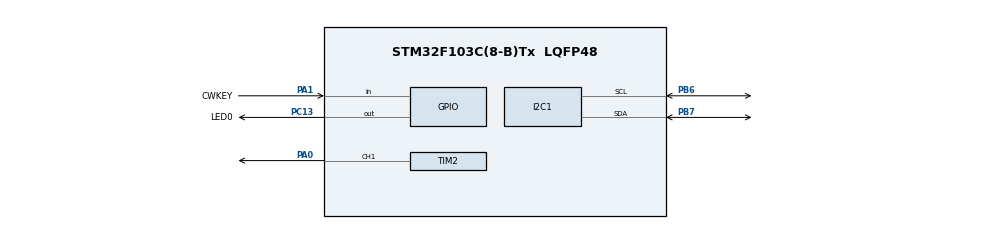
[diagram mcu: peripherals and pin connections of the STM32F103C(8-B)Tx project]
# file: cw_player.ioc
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FREERTOS.Queues01=keyEvent_Queue,16,uint8_t,0,Dynamic,NULL,NULL
FREERTOS.Tasks01=defaultTask,24,128,StartDefaultTask,Default,NULL,Dynamic,NULL,NULL;keyTask,24,128,StartTaskKey,Default,NULL,Dynamic,NULL,NULL;ledTask,24,128,StartTaskLed,Default,NULL,Dynamic,NULL,NULL
FREERTOS.configUSE_NEWLIB_REENTRANT=1
I2C1.I2C_Mode=I2C_Fast
Mcu.Family=STM32F1
Mcu.Name=STM32F103C(8-B)Tx
Mcu.Package=LQFP48
NVIC.PriorityGroup=NVIC_PRIORITYGROUP_4
NVIC.TIM1_UP_IRQn=true\:15\:0\:false\:false\:true\:false\:false\:true\:true
NVIC.TIM3_IRQn=true\:5\:0\:false\:false\:true\:true\:true\:true\:true
NVIC.TimeBase=TIM1_UP_IRQn
NVIC.TimeBaseIP=TIM1
PA0-WKUP.Signal=S_TIM2_CH1_ETR
PA1.GPIO_Label=CWKEY
PA1.GPIO_PuPd=GPIO_PULLUP
PA1.Signal=GPIO_Input
PA13.Mode=Serial_Wire
PA13.Signal=SYS_JTMS-SWDIO
PA14.Mode=Serial_Wire
PA14.Signal=SYS_JTCK-SWCLK
PB6.Mode=I2C
PB6.Signal=I2C1_SCL
PB7.Mode=I2C
PB7.Signal=I2C1_SDA
PC13-TAMPER-RTC.GPIO_Label=LED0
PC13-TAMPER-RTC.GPIO_PuPd=GPIO_PULLUP
PC13-TAMPER-RTC.GPIO_Speed=GPIO_SPEED_FREQ_HIGH
PC13-TAMPER-RTC.PinState=GPIO_PIN_SET
PC13-TAMPER-RTC.Signal=GPIO_Output
PC14-OSC32_IN.Mode=LSE-External-Oscillator
PC14-OSC32_IN.Signal=RCC_OSC32_IN
PC15-OSC32_OUT.Mode=LSE-External-Oscillator
PC15-OSC32_OUT.Signal=RCC_OSC32_OUT
PD0-OSC_IN.Mode=HSE-External-Oscillator
PD0-OSC_IN.Signal=RCC_OSC_IN
PD1-OSC_OUT.Mode=HSE-External-Oscillator
PD1-OSC_OUT.Signal=RCC_OSC_OUT
ProjectManager.HeapSize=0x200
ProjectManager.StackSize=0x400
ProjectManager.TargetToolchain=STM32CubeIDE
RCC.APB1Freq_Value=8000000
RCC.APB2Freq_Value=8000000
SH.S_TIM2_CH1_ETR.0=TIM2_CH1,PWM Generation1 CH1
TIM2.Channel-PWM\ Generation1\ CH1=TIM_CHANNEL_1
TIM2.Period=1250-1
TIM2.Prescaler=8-1
TIM2.Pulse-PWM\ Generation1\ CH1=50
TIM3.AutoReloadPreload=TIM_AUTORELOAD_PRELOAD_ENABLE
TIM3.Period=10000-1
TIM3.Prescaler=800-1
VP_FREERTOS_VS_CMSIS_V2.Mode=CMSIS_V2
VP_SYS_VS_tim1.Mode=TIM1
VP_TIM2_VS_ClockSourceINT.Mode=Internal
VP_TIM3_VS_ClockSourceINT.Mode=Internal
board=custom

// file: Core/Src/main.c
/* USER CODE BEGIN Header */
/**
  ******************************************************************************
  * @file           : main.c
  * @brief          : Main program body
  ******************************************************************************
  * @attention
  *
  * Copyright (c) 2024 STMicroelectronics.
  * All rights reserved.
  *
  * This software is licensed under terms that can be found in the LICENSE file
  * in the root directory of this software component.
  * If no LICENSE file comes with this software, it is provided AS-IS.
  *
  ******************************************************************************
  */
/* USER CODE END Header */
#include "main.h"
#include "cmsis_os.h"

/* USER CODE BEGIN Includes */
#include "stdio.h"
#include "math.h"
#include "queue.h"
#include "ssd1306.h"
#include "delay.h"

/* USER CODE END Includes */

/* USER CODE BEGIN PD */

#define CW_LINE_DOT		0x18
#define CW_LINE_BLANK	0x00

#define CW_LINE_ACTION_DECODE		1
#define CW_LINE_ACTION_DOT			2
#define CW_LINE_ACTION_BLANK		3

/* USER CODE END PD */

/* USER CODE BEGIN PM */

#define BEEP_STOP		HAL_TIM_PWM_Stop(&htim2, TIM_CHANNEL_1)
#define BEEP_START	HAL_TIM_PWM_Start(&htim2, TIM_CHANNEL_1)

/* USER CODE END PM */

I2C_HandleTypeDef hi2c1;

TIM_HandleTypeDef htim2;
TIM_HandleTypeDef htim3;

/* Definitions for defaultTask */
osThreadId_t defaultTaskHandle;
const osThreadAttr_t defaultTask_attributes = {
  .name = "defaultTask",
  .stack_size = 128 * 4,
  .priority = (osPriority_t) osPriorityNormal,
};
/* Definitions for keyTask */
osThreadId_t keyTaskHandle;
const osThreadAttr_t keyTask_attributes = {
  .name = "keyTask",
  .stack_size = 128 * 4,
  .priority = (osPriority_t) osPriorityNormal,
};
/* Definitions for ledTask */
osThreadId_t ledTaskHandle;
const osThreadAttr_t ledTask_attributes = {
  .name = "ledTask",
  .stack_size = 128 * 4,
  .priority = (osPriority_t) osPriorityNormal,
};
/* Definitions for keyEvent_Queue */
osMessageQueueId_t keyEvent_QueueHandle;
const osMessageQueueAttr_t keyEvent_Queue_attributes = {
  .name = "keyEvent_Queue"
};
/* USER CODE BEGIN PV */

//
uint8_t fontMap[][16] = {
		{0x00,0x00,0xE0,0x38,0x78,0xC0,0x00,0x00,0x00,0x0E,0x03,0x02,0x02,0x03,0x0C,0x00},/*"A",0*/
		{0x00,0xF8,0x88,0x88,0x88,0x58,0x30,0x00,0x00,0x0F,0x08,0x08,0x08,0x0D,0x07,0x00},/*"B",1*/
		{0x00,0xF0,0x18,0x08,0x08,0x18,0x30,0x00,0x00,0x07,0x0C,0x08,0x08,0x0C,0x06,0x00},/*"C",2*/
		{0x00,0xF8,0x08,0x08,0x08,0xF8,0xE0,0x00,0x00,0x0F,0x08,0x08,0x08,0x0F,0x03,0x00},/*"D",3*/
		{0x00,0xF8,0x88,0x88,0x88,0x88,0x08,0x00,0x00,0x0F,0x08,0x08,0x08,0x08,0x08,0x00},/*"E",4*/
		{0x00,0xF8,0x88,0x88,0x88,0x88,0x08,0x00,0x00,0x0F,0x00,0x00,0x00,0x00,0x00,0x00},/*"F",5*/
		{0x00,0xF0,0x18,0x08,0x88,0x98,0x90,0x00,0x00,0x07,0x0C,0x08,0x08,0x0C,0x03,0x00},/*"G",6*/
		{0x00,0xF8,0x80,0x80,0x80,0xF8,0xF8,0x00,0x00,0x0F,0x00,0x00,0x00,0x0F,0x0F,0x00},/*"H",7*/
		{0x00,0x08,0x08,0xF8,0xF8,0x08,0x00,0x00,0x00,0x08,0x08,0x0F,0x0F,0x08,0x00,0x00},/*"I",8*/
		{0x00,0x00,0x00,0x08,0x08,0xF8,0x00,0x00,0x00,0x06,0x08,0x08,0x08,0x07,0x00,0x00},/*"J",9*/
		{0x00,0xF8,0x80,0x80,0xC0,0x30,0x08,0x00,0x00,0x0F,0x00,0x00,0x01,0x06,0x08,0x00},/*"K",10*/
		{0x00,0x00,0xF8,0x00,0x00,0x00,0x00,0x00,0x00,0x00,0x0F,0x08,0x08,0x08,0x08,0x00},/*"L",11*/
		{0x00,0xF8,0x38,0xC0,0xE0,0x18,0xF8,0x00,0x00,0x0F,0x00,0x00,0x00,0x00,0x0F,0x00},/*"M",12*/
		{0x00,0xF8,0x18,0xE0,0x00,0xF8,0xF8,0x00,0x00,0x0F,0x00,0x00,0x03,0x0C,0x0F,0x00},/*"N",13*/
		{0x00,0xF0,0x18,0x08,0x08,0xF8,0xE0,0x00,0x00,0x07,0x0C,0x08,0x08,0x0F,0x03,0x00},/*"O",14*/
		{0x00,0xF8,0x88,0x88,0x88,0x88,0x70,0x00,0x00,0x0F,0x00,0x00,0x00,0x00,0x00,0x00},/*"P",15*/
		{0x00,0xF0,0x18,0x08,0x08,0x18,0xF0,0x00,0x00,0x07,0x0C,0x08,0x18,0x3C,0x27,0x00},/*"Q",16*/
		{0x00,0xF8,0x88,0x88,0x88,0xD8,0x70,0x00,0x00,0x0F,0x00,0x00,0x01,0x0E,0x08,0x00},/*"R",17*/
		{0x00,0x30,0x58,0x88,0x88,0x98,0x10,0x00,0x00,0x04,0x0C,0x08,0x08,0x0D,0x07,0x00},/*"S",18*/
		{0x00,0x08,0x08,0xF8,0x08,0x08,0x08,0x00,0x00,0x00,0x00,0x0F,0x00,0x00,0x00,0x00},/*"T",19*/
		{0x00,0xF8,0x00,0x00,0x00,0xF8,0xF8,0x00,0x00,0x07,0x0C,0x08,0x08,0x0F,0x03,0x00},/*"U",20*/
		{0x00,0x38,0xE0,0x00,0x00,0xE0,0x18,0x00,0x00,0x00,0x03,0x0E,0x0E,0x01,0x00,0x00},/*"V",21*/
		{0x08,0xF0,0x00,0xF8,0xF8,0x00,0xF8,0x00,0x00,0x0F,0x0F,0x00,0x03,0x0C,0x07,0x00},/*"W",22*/
		{0x00,0x08,0x30,0xC0,0xE0,0x30,0x08,0x00,0x00,0x0C,0x06,0x01,0x01,0x06,0x08,0x00},/*"X",23*/
		{0x08,0x18,0x60,0x80,0xC0,0x70,0x18,0x00,0x00,0x00,0x00,0x0F,0x01,0x00,0x00,0x00},/*"Y",24*/
		{0x00,0x08,0x08,0x88,0x68,0x38,0x08,0x00,0x00,0x0C,0x0E,0x09,0x08,0x08,0x08,0x00},/*"Z",25*/
		{0x00,0x00,0x08,0x88,0x88,0x70,0x00,0x00,0x00,0x00,0x08,0x0B,0x00,0x00,0x00,0x00},/*"?",26*/
		{0x00,0xF0,0x18,0x88,0x88,0x18,0xF0,0x00,0x00,0x07,0x0C,0x08,0x08,0x0C,0x07,0x00},/*"0",27*/
		{0x00,0x30,0x10,0x08,0xF8,0x00,0x00,0x00,0x00,0x08,0x08,0x08,0x0F,0x08,0x08,0x00},/*"1",28*/
		{0x00,0x30,0x18,0x08,0x08,0xD8,0x20,0x00,0x00,0x08,0x0C,0x0A,0x09,0x08,0x08,0x00},/*"2",29*/
		{0x00,0x08,0x08,0x48,0x68,0x98,0x00,0x00,0x00,0x06,0x08,0x08,0x08,0x0F,0x03,0x00},/*"3",30*/
		{0x00,0x80,0xC0,0x30,0x18,0x88,0x00,0x00,0x00,0x03,0x02,0x02,0x02,0x0F,0x00,0x00},/*"4",31*/
		{0x00,0xF8,0x88,0x48,0x48,0xC8,0x80,0x00,0x00,0x04,0x0C,0x08,0x08,0x0C,0x07,0x00},/*"5",32*/
		{0x00,0x80,0xE0,0x50,0x48,0xC0,0x80,0x00,0x00,0x07,0x0C,0x08,0x08,0x0C,0x07,0x00},/*"6",33*/
		{0x00,0x18,0x08,0x08,0x88,0xE8,0x18,0x00,0x00,0x00,0x08,0x0C,0x03,0x00,0x00,0x00},/*"7",34*/
		{0x00,0x30,0xD8,0x88,0x88,0x58,0x30,0x00,0x00,0x07,0x08,0x08,0x08,0x0D,0x07,0x00},/*"8",35*/
		{0x00,0xF0,0x98,0x08,0x08,0x98,0xF0,0x00,0x00,0x00,0x01,0x09,0x07,0x01,0x00,0x00},/*"9",36*/
		{0x00,0x00,0x00,0x60,0x60,0x00,0x00,0x00,0x00,0x00,0x00,0x0C,0x0C,0x00,0x00,0x00},/*":",37*/
		{0x00,0x00,0x00,0x80,0x70,0x1C,0x02,0x00,0x00,0x10,0x0E,0x03,0x00,0x00,0x00,0x00},/*"/",38*/
};

// 0b[left pad 0 for 7bit]1[dida]1
uint8_t didaMap[] = {
		0b0001011,		/* A, ._ */
		0b0110001, 		/* B, _... */
		0b0110101, 		/* C, _._. */
		0b0011001,		/* D, _.. */
		0b0000101,		/* E, . */
		0b0100101,		/* F, .._. */
		0b0011101,		/* G, __. */
		0b0100001,		/* H, .... */
		0b0001001,		/* I, .. */
		0b0101111,		/* J, .___ */
		0b0011011,		/* K, _._ */
		0b0101001,		/* L, ._.. */
		0b0001111,		/* M, __ */
		0b0001101,		/* N, _. */
		0b0011111,		/* O, ___ */
		0b0101101,		/* P, .__. */
		0b0111011,		/* Q, __._ */
		0b0010101,		/* R, ._. */
		0b0010001,		/* S, ... */
		0b0000111,		/* T, _ */
		0b0010011,		/* U, .._ */
		0b0100011,		/* V, ..._ */
		0b0010111,		/* W, .__ */
		0b0110011,		/* X, _.._ */
		0b0110111,		/* Y, _.__ */
		0b0111001,		/* Z, __.. */
		0b0000000,		/* ?, */
		0b1011111,		/* 1, .____ */
		0b1001111,		/* 2, ..___ */
		0b1000111,		/* 3, ...__ */
		0b1000011,		/* 4, ...._ */
		0b1000001,		/* 5, ..... */
		0b1100001,		/* 6, _.... */
		0b1110001,		/* 7, __... */
		0b1111001,		/* 8, ___.. */
		0b1111101,		/* 9, ____. */
		0b1111111,		/* 0, _____ */
};

//
uint8_t cwLineBuff[128];

//
uint8_t decodeLineHisBuff[16];

//
uint8_t decodeLineCurrentPos = 0;

//
uint16_t velSecondCount = 0;
uint16_t velDecodeCount = 0;

/* USER CODE END PV */

void SystemClock_Config(void);
static void MX_GPIO_Init(void);
static void MX_I2C1_Init(void);
static void MX_TIM2_Init(void);
static void MX_TIM3_Init(void);
void StartDefaultTask(void *argument);
void StartTaskKey(void *argument);
void StartTaskLed(void *argument);

/* USER CODE BEGIN PFP */

void oledShowDemo(void);
void oledShowCWLine(uint8_t action);
void oledClear(void);
void oledShowCWDecode(uint8_t didaBuff);
void oledClearCWDecode(void);
void oledShowHisCWDecode(void);
void oledShowMode(uint8_t mode);
void oledInitInfo(void);
void oledRefreshVel(void);

/* USER CODE END PFP */

/* USER CODE BEGIN 0 */

void oledShowDemo (void)
{
	// posD: page=b0-b7, col-lower=0x00-0x0f, col-upper=0x10-0x1f
  uint8_t posD[] = { 0xb6, 0x00, 0x10 };
  ssd1306_show (posD, 3, &fontMap[0][0], 8);
  posD[0] = 0xb7;	// page1
  ssd1306_show (posD, 3, &fontMap[0][8], 8);

  posD[0] = 0xb6;
  posD[1] = 0x09;
  ssd1306_show (posD, 3, &fontMap[1][0], 8);
  posD[0] = 0xb7;
  posD[1] = 0x09;
  ssd1306_show (posD, 3, &fontMap[1][8], 8);
}

void oledShowCWLine(uint8_t action) {
	// process cwLineBuff by action
	if(action == CW_LINE_ACTION_DOT) {
		// array move left 2 index, last 2 byte set CW_LINE_DOT
		for(uint8_t i = 0; i < 128-2; i++) {
			cwLineBuff[i] = cwLineBuff[i+2];
		}
		cwLineBuff[126] = CW_LINE_DOT;
		cwLineBuff[127] = CW_LINE_DOT;
	} else if(action == CW_LINE_ACTION_BLANK) {
		for(uint8_t i = 0; i < 128-2; i++) {
			cwLineBuff[i] = cwLineBuff[i+2];
		}
		cwLineBuff[126] = CW_LINE_BLANK;
		cwLineBuff[127] = CW_LINE_BLANK;
	} else if(action == CW_LINE_ACTION_DECODE) {
		for(uint8_t i = 0; i < 128-4; i++) {
			cwLineBuff[i] = cwLineBuff[i+4];
		}
		cwLineBuff[124] = CW_LINE_BLANK;
		cwLineBuff[125] = CW_LINE_BLANK;
		cwLineBuff[126] = CW_LINE_BLANK;
		cwLineBuff[127] = CW_LINE_BLANK;
	} else {
		// out of action
	}

	// 0xb3 is cwline page.
	uint8_t posD[] = { 0xb3, 0x00, 0x10 };
	ssd1306_show (posD, 3, cwLineBuff, 128);
}

void oledClear(void) {
	uint8_t oledBuff[128];
	for(uint8_t i = 0; i < 128; i++) {
				oledBuff[i] = 0x00;
	}
	for(uint8_t i = 0; i < 8; i++) {
		uint8_t posD[] = {0xb0 + i, 0x00, 0x10 };
		ssd1306_show (posD, 3, oledBuff, 128);
	}

}

void oledShowCWDecode(uint8_t didaBuff) {
  //TODO return line
	if(decodeLineCurrentPos > 15) {
		decodeLineCurrentPos = 0;
		oledClearCWDecode();
		oledShowHisCWDecode();
	}

	// 26 is "?"
	uint8_t didaDecodeFontIndex = 26;

	// set 1 for pad right
	didaBuff = didaBuff << 1 | 0x01;

	// decode didaBuff
	for(uint8_t i = 0;i < sizeof(didaMap); i++) {
		if(didaMap[i] == didaBuff) {
			didaDecodeFontIndex = i;
		}
	}

	// get curPos
	uint8_t curPos, curPosH, curPosL;
	curPos = decodeLineCurrentPos * 8;
	curPosH = (curPos & 0b11110000) >> 4;
	curPosL = curPos & 0b1111;

	// show decode letter
	uint8_t posD[3];
	posD[0] = 0xb6;
	posD[1] = 0x00 + curPosL;
	posD[2] = 0x10 + curPosH;
  ssd1306_show (posD, 3, &fontMap[didaDecodeFontIndex][0], 8);
  posD[0] = 0xb7;
  ssd1306_show (posD, 3, &fontMap[didaDecodeFontIndex][8], 8);

  // set history letter
  decodeLineHisBuff[decodeLineCurrentPos] = didaDecodeFontIndex;

  decodeLineCurrentPos++;
}

void oledClearCWDecode(void) {
	uint8_t cwDecodeBuff[128];
	for(uint8_t i = 0; i < 128; i++) {
		cwDecodeBuff[i] = 0x00;
	}
	uint8_t posD[] = {0xb6, 0x00, 0x10 };
	ssd1306_show(posD, 3, &cwDecodeBuff[0], 128);
	posD[0] = 0xb7;
	ssd1306_show(posD, 3, &cwDecodeBuff[0], 128);
}

void oledShowHisCWDecode(void) {
	uint8_t posD[3];
	for(uint8_t i = 0; i < 16; i++) {
		posD[0] = 0xb4;
		posD[1] = 0x00 + ((i * 8) & 0b1111);
		posD[2] = 0x10 + (((i * 8) & 0b11110000) >> 4);
		ssd1306_show(posD, 3, &fontMap[decodeLineHisBuff[i]][0], 8);
		posD[0] = 0xb5;
		ssd1306_show(posD, 3, &fontMap[decodeLineHisBuff[i]][8], 8);
	}
}

void oledShowMode(uint8_t mode) {
	uint8_t posD[3];
	uint8_t playFont[4] = {15, 11, 0, 24};
	uint8_t idleFont[4] = {8, 3, 11, 4};
	for(uint8_t i = 0; i < 4; i++) {
		posD[0] = 0xb0;
		posD[1] = 0x00 + (((i + 2) * 8) & 0b1111);
		posD[2] = 0x10 + ((((i + 2) * 8) & 0b11110000) >> 4);
		if(mode == MODE_PLAY) {
			ssd1306_show(posD, 3, &fontMap[playFont[i]][0], 8);
		} else {
			ssd1306_show(posD, 3, &fontMap[idleFont[i]][0], 8);
		}
		posD[0] = 0xb1;
		if(mode == MODE_PLAY) {
			ssd1306_show(posD, 3, &fontMap[playFont[i]][8], 8);
		} else {
			ssd1306_show(posD, 3, &fontMap[idleFont[i]][8], 8);
		}
	}

}

void oledInitInfo(void) {
	uint8_t posD[3];
	uint8_t modeInfo[6] = {12, 37, 8, 3, 11, 4};
	uint8_t velInfo[8] = {21, 37, 27, 27, 27, 11, 38, 12};

	// init mode
	for(uint8_t i = 0; i < sizeof(modeInfo); i++) {
		posD[0] = 0xb0;
		posD[1] = 0x00 + ((i * 8)& 0b1111);
		posD[2] = 0x10 + (((i * 8) & 0b11110000) >> 4);
		ssd1306_show(posD, 3, &fontMap[modeInfo[i]][0], 8);
		posD[0] = 0xb1;
		ssd1306_show(posD, 3, &fontMap[modeInfo[i]][8], 8);
	}

	// init vel
	for(uint8_t i = 0; i < sizeof(velInfo); i++) {
		posD[0] = 0xb0;
		posD[1] = 0x00 + (((i + 8) * 8)& 0b1111);
		posD[2] = 0x10 + ((((i + 8) * 8) & 0b11110000) >> 4);
		ssd1306_show(posD, 3, &fontMap[velInfo[i]][0], 8);
		posD[0] = 0xb1;
		ssd1306_show(posD, 3, &fontMap[velInfo[i]][8], 8);
	}
}

void oledRefreshVel(void) {
	uint8_t posD[3];
	uint8_t vel_bit[3];
	uint16_t vel = velDecodeCount * 60 / velSecondCount;

	vel_bit[0] = vel / 100;
	vel_bit[1] = (vel % 100) / 10;
	vel_bit[2] = vel % 10;

	for(uint8_t i = 0; i < 3; i++) {
		posD[0] = 0xb0;
		posD[1] = 0x00 + (((i + 10) * 8) & 0b1111);
		posD[2] = 0x10 + ((((i + 10) * 8) & 0b11110000) >> 4);
		ssd1306_show(posD, 3, &fontMap[27 + vel_bit[i]][0], 8);
		posD[0] = 0xb1;
		ssd1306_show(posD, 3, &fontMap[27 + vel_bit[i]][8], 8);
	}
}

/* USER CODE END 0 */

int main(void)
{

  /* MCU Configuration--------------------------------------------------------*/

  /* Reset of all peripherals, Initializes the Flash interface and the Systick. */
  HAL_Init();

  /* Configure the system clock */
  SystemClock_Config();

  /* Initialize all configured peripherals */
  MX_GPIO_Init();
  MX_I2C1_Init();
  MX_TIM2_Init();
  MX_TIM3_Init();

  /* Init scheduler */
  osKernelInitialize();

  /* Create the queue(s) */
  /* creation of keyEvent_Queue */
  keyEvent_QueueHandle = osMessageQueueNew (16, sizeof(uint8_t), &keyEvent_Queue_attributes);

  /* Create the thread(s) */
  /* creation of defaultTask */
  defaultTaskHandle = osThreadNew(StartDefaultTask, NULL, &defaultTask_attributes);

  /* creation of keyTask */
  keyTaskHandle = osThreadNew(StartTaskKey, NULL, &keyTask_attributes);

  /* creation of ledTask */
  ledTaskHandle = osThreadNew(StartTaskLed, NULL, &ledTask_attributes);

  /* Start scheduler */
  osKernelStart();

  /* We should never get here as control is now taken by the scheduler */

  /* Infinite loop */
  while (1)
  {

  }
}

void SystemClock_Config(void)
{
  RCC_OscInitTypeDef RCC_OscInitStruct = {0};
  RCC_ClkInitTypeDef RCC_ClkInitStruct = {0};

  /** Initializes the RCC Oscillators according to the specified parameters
  * in the RCC_OscInitTypeDef structure.
  */
  RCC_OscInitStruct.OscillatorType = RCC_OSCILLATORTYPE_HSI;
  RCC_OscInitStruct.HSIState = RCC_HSI_ON;
  RCC_OscInitStruct.HSICalibrationValue = RCC_HSICALIBRATION_DEFAULT;
  RCC_OscInitStruct.PLL.PLLState = RCC_PLL_NONE;
  if (HAL_RCC_OscConfig(&RCC_OscInitStruct) != HAL_OK)
  {
    Error_Handler();
  }

  /** Initializes the CPU, AHB and APB buses clocks
  */
  RCC_ClkInitStruct.ClockType = RCC_CLOCKTYPE_HCLK|RCC_CLOCKTYPE_SYSCLK
                              |RCC_CLOCKTYPE_PCLK1|RCC_CLOCKTYPE_PCLK2;
  RCC_ClkInitStruct.SYSCLKSource = RCC_SYSCLKSOURCE_HSI;
  RCC_ClkInitStruct.AHBCLKDivider = RCC_SYSCLK_DIV1;
  RCC_ClkInitStruct.APB1CLKDivider = RCC_HCLK_DIV1;
  RCC_ClkInitStruct.APB2CLKDivider = RCC_HCLK_DIV1;

  if (HAL_RCC_ClockConfig(&RCC_ClkInitStruct, FLASH_LATENCY_0) != HAL_OK)
  {
    Error_Handler();
  }
}

static void MX_I2C1_Init(void)
{

  hi2c1.Instance = I2C1;
  hi2c1.Init.ClockSpeed = 400000;
  hi2c1.Init.DutyCycle = I2C_DUTYCYCLE_2;
  hi2c1.Init.OwnAddress1 = 0;
  hi2c1.Init.AddressingMode = I2C_ADDRESSINGMODE_7BIT;
  hi2c1.Init.DualAddressMode = I2C_DUALADDRESS_DISABLE;
  hi2c1.Init.OwnAddress2 = 0;
  hi2c1.Init.GeneralCallMode = I2C_GENERALCALL_DISABLE;
  hi2c1.Init.NoStretchMode = I2C_NOSTRETCH_DISABLE;
  if (HAL_I2C_Init(&hi2c1) != HAL_OK)
  {
    Error_Handler();
  }

}

static void MX_TIM2_Init(void)
{

  TIM_ClockConfigTypeDef sClockSourceConfig = {0};
  TIM_MasterConfigTypeDef sMasterConfig = {0};
  TIM_OC_InitTypeDef sConfigOC = {0};

  htim2.Instance = TIM2;
  htim2.Init.Prescaler = 8-1;
  htim2.Init.CounterMode = TIM_COUNTERMODE_UP;
  htim2.Init.Period = 1250-1;
  htim2.Init.ClockDivision = TIM_CLOCKDIVISION_DIV1;
  htim2.Init.AutoReloadPreload = TIM_AUTORELOAD_PRELOAD_DISABLE;
  if (HAL_TIM_Base_Init(&htim2) != HAL_OK)
  {
    Error_Handler();
  }
  sClockSourceConfig.ClockSource = TIM_CLOCKSOURCE_INTERNAL;
  if (HAL_TIM_ConfigClockSource(&htim2, &sClockSourceConfig) != HAL_OK)
  {
    Error_Handler();
  }
  if (HAL_TIM_PWM_Init(&htim2) != HAL_OK)
  {
    Error_Handler();
  }
  sMasterConfig.MasterOutputTrigger = TIM_TRGO_RESET;
  sMasterConfig.MasterSlaveMode = TIM_MASTERSLAVEMODE_DISABLE;
  if (HAL_TIMEx_MasterConfigSynchronization(&htim2, &sMasterConfig) != HAL_OK)
  {
    Error_Handler();
  }
  sConfigOC.OCMode = TIM_OCMODE_PWM1;
  sConfigOC.Pulse = 50;
  sConfigOC.OCPolarity = TIM_OCPOLARITY_HIGH;
  sConfigOC.OCFastMode = TIM_OCFAST_DISABLE;
  if (HAL_TIM_PWM_ConfigChannel(&htim2, &sConfigOC, TIM_CHANNEL_1) != HAL_OK)
  {
    Error_Handler();
  }
  HAL_TIM_MspPostInit(&htim2);

}

static void MX_TIM3_Init(void)
{

  TIM_ClockConfigTypeDef sClockSourceConfig = {0};
  TIM_MasterConfigTypeDef sMasterConfig = {0};

  htim3.Instance = TIM3;
  htim3.Init.Prescaler = 800-1;
  htim3.Init.CounterMode = TIM_COUNTERMODE_UP;
  htim3.Init.Period = 10000-1;
  htim3.Init.ClockDivision = TIM_CLOCKDIVISION_DIV1;
  htim3.Init.AutoReloadPreload = TIM_AUTORELOAD_PRELOAD_ENABLE;
  if (HAL_TIM_Base_Init(&htim3) != HAL_OK)
  {
    Error_Handler();
  }
  sClockSourceConfig.ClockSource = TIM_CLOCKSOURCE_INTERNAL;
  if (HAL_TIM_ConfigClockSource(&htim3, &sClockSourceConfig) != HAL_OK)
  {
    Error_Handler();
  }
  sMasterConfig.MasterOutputTrigger = TIM_TRGO_RESET;
  sMasterConfig.MasterSlaveMode = TIM_MASTERSLAVEMODE_DISABLE;
  if (HAL_TIMEx_MasterConfigSynchronization(&htim3, &sMasterConfig) != HAL_OK)
  {
    Error_Handler();
  }

}

static void MX_GPIO_Init(void)
{
  GPIO_InitTypeDef GPIO_InitStruct = {0};

  /* GPIO Ports Clock Enable */
  __HAL_RCC_GPIOC_CLK_ENABLE();
  __HAL_RCC_GPIOD_CLK_ENABLE();
  __HAL_RCC_GPIOA_CLK_ENABLE();
  __HAL_RCC_GPIOB_CLK_ENABLE();

  /*Configure GPIO pin Output Level */
  HAL_GPIO_WritePin(LED0_GPIO_Port, LED0_Pin, GPIO_PIN_SET);

  /*Configure GPIO pin : LED0_Pin */
  GPIO_InitStruct.Pin = LED0_Pin;
  GPIO_InitStruct.Mode = GPIO_MODE_OUTPUT_PP;
  GPIO_InitStruct.Pull = GPIO_PULLUP;
  GPIO_InitStruct.Speed = GPIO_SPEED_FREQ_HIGH;
  HAL_GPIO_Init(LED0_GPIO_Port, &GPIO_InitStruct);

  /*Configure GPIO pin : CWKEY_Pin */
  GPIO_InitStruct.Pin = CWKEY_Pin;
  GPIO_InitStruct.Mode = GPIO_MODE_INPUT;
  GPIO_InitStruct.Pull = GPIO_PULLUP;
  HAL_GPIO_Init(CWKEY_GPIO_Port, &GPIO_InitStruct);

}

void StartDefaultTask(void *argument)
{
  /* USER CODE BEGIN 5 */
	uint8_t keyEventMsg = 0;
	osStatus_t status = 0;
	uint8_t cwLineStatus = 0;
	uint8_t cwLineShowDelay = 0;
	uint8_t checkDiDaDelay = 0;
	uint16_t modeIdleDelay = 0;
	uint8_t mode = MODE_IDLE;
	uint8_t didaBuff = 0b1;	// init 1 for pad left

	ssd1306_init(&hi2c1);

	oledClear();
	oledInitInfo();

  /* Infinite loop */
  for(;;)
  {
  	status = osMessageQueueGet(keyEvent_QueueHandle, &keyEventMsg, NULL, 0);
  	if(status == osOK) { // received, switch show_status of cw_line.
  		if(keyEventMsg == QUEUE_MSG_KEYDOWN) {
  			cwLineStatus = SHOW_STATUS_DOWN;
  		} else if(keyEventMsg == QUEUE_MSG_KEYUP) {
  			cwLineStatus = SHOW_STATUS_UP;
  		} else if(keyEventMsg == QUEUE_MSG_DECODE) {
  			cwLineStatus = SHOW_STATUS_DECODE;
  		}
  		cwLineShowDelay = 0;
  	}

		// process cw_line
		if(cwLineStatus == SHOW_STATUS_DOWN) {
			cwLineShowDelay++;
			if(cwLineShowDelay > CW_LINE_SHOW_DELAY_MAX) {
				oledShowCWLine(CW_LINE_ACTION_DOT);
				checkDiDaDelay++;
				cwLineShowDelay = 0;
				if(mode == MODE_IDLE) {
					oledShowMode(MODE_PLAY);
					mode = MODE_PLAY;
					HAL_TIM_Base_Start_IT(&htim3);
				}
			}
			BEEP_START;
		} else  if(cwLineStatus == SHOW_STATUS_UP) {
			cwLineShowDelay++;
			if(cwLineShowDelay > CW_LINE_SHOW_DELAY_MAX) {
				oledShowCWLine(CW_LINE_ACTION_BLANK);
				if(checkDiDaDelay > 0) {
					if(checkDiDaDelay > CW_LINE_CHECK_DIDA_DELAY_MAX) {
						// is da _, set didaBuff 1
						didaBuff = didaBuff << 1 | 0x01;
					} else {
						// is di .,set didaBuff 0
						didaBuff = didaBuff << 1;
					}
					checkDiDaDelay = 0;
				}
				cwLineShowDelay = 0;
			}
			BEEP_STOP;
		} else if(cwLineStatus == SHOW_STATUS_DECODE) {
			oledShowCWLine(CW_LINE_ACTION_DECODE);
			oledShowCWDecode(didaBuff);
			oledRefreshVel();
			didaBuff = 0b1;
			cwLineStatus = SHOW_STATUS_IDLE;
			modeIdleDelay=1;
			velDecodeCount++;
		} else { // cw_line is IDLE
			BEEP_STOP;
			if(modeIdleDelay > MODE_IDLE_DELAY_MAX) {
				modeIdleDelay = 0;
				// switch mode to idle
				oledShowMode(MODE_IDLE);
				mode= MODE_IDLE;
				HAL_TIM_Base_Stop_IT(&htim3);
				velSecondCount = 0;
				velDecodeCount = 0;
			} else if(modeIdleDelay > 0) {
				modeIdleDelay++;
			}
		}

    osDelay(1);
  }
  /* USER CODE END 5 */
}

void StartTaskKey(void *argument)
{
  /* USER CODE BEGIN StartTaskKey */
	uint8_t keyStatus = KEY_STATUS_IDLE;
	uint8_t keyQueueMsg = 0;
	uint16_t deboundCount = 0;
	uint16_t decodeWaitCount = 0;
  /* Infinite loop */
  for(;;)
  {
  	GPIO_PinState keyPinState = HAL_GPIO_ReadPin(CWKEY_GPIO_Port, CWKEY_Pin);

  	if(keyStatus == KEY_STATUS_DOWN) {
  		if(keyPinState == GPIO_PIN_SET) {	// key is UP
  			deboundCount++;
  			if(deboundCount > DEBOUND_DELAY_MAX) {
  				keyQueueMsg = QUEUE_MSG_KEYUP;
  				osStatus_t status = osMessageQueuePut(keyEvent_QueueHandle, &keyQueueMsg, 0, osWaitForever);
  				if (status != osOK) {
  				    //TODO 错误处理
  				} else {
  					deboundCount = 0;
  					keyStatus = KEY_STATUS_UP;
  				}
  			}
  		} else {	// keyPinState == GPIO_PIN_RESET // key is DOWNing
				deboundCount = 0;
			}

  	} else if(keyStatus == KEY_STATUS_UP) {
  		if(keyPinState == GPIO_PIN_SET) {
  			decodeWaitCount++;
  			if(decodeWaitCount > DECODE_DELAY_MAX) {
  				keyQueueMsg = QUEUE_MSG_DECODE;
  				osStatus_t status = osMessageQueuePut(keyEvent_QueueHandle, &keyQueueMsg, 0, osWaitForever);
					if (status != osOK) {
							//TODO 错误处理
					} else {
						decodeWaitCount = 0;
	  				keyStatus = KEY_STATUS_IDLE;
					}
  			}
  		} else {	//keyPinState == GPIO_PIN_RESET	// key is DOWN
  			decodeWaitCount = 0;
  			keyQueueMsg = QUEUE_MSG_KEYDOWN;
  			osStatus_t status = osMessageQueuePut(keyEvent_QueueHandle, &keyQueueMsg, 0, osWaitForever);
				if (status != osOK) {
						//TODO 错误处理
				} else {
	  			keyStatus = KEY_STATUS_DOWN;
				}
  		}

  	} else { //keyStatus == KEY_STATUS_IDLE
  		if(keyPinState == GPIO_PIN_RESET) {	// key is DOWN
  			keyQueueMsg = QUEUE_MSG_KEYDOWN;
  			osStatus_t status = osMessageQueuePut(keyEvent_QueueHandle, &keyQueueMsg, 0, osWaitForever);
				if (status != osOK) {
						//TODO 错误处理
				} else {
					keyStatus = KEY_STATUS_DOWN;
				}
  		}
  	}

    osDelay(1);
  }
  /* USER CODE END StartTaskKey */
}

void StartTaskLed(void *argument)
{
  for(;;)
  {
  	osDelay(1);
  }
}

void HAL_TIM_PeriodElapsedCallback(TIM_HandleTypeDef *htim)
{
  if (htim->Instance == TIM1) {
    HAL_IncTick();
  }
  /* USER CODE BEGIN Callback 1 */

  if(htim->Instance == TIM3) {
  	velSecondCount++;
  	if(velSecondCount > 999) {
  		velSecondCount = 0;
  	}
  }

  /* USER CODE END Callback 1 */
}

void Error_Handler(void)
{
  __disable_irq();
  while (1)
  {
  }
}
